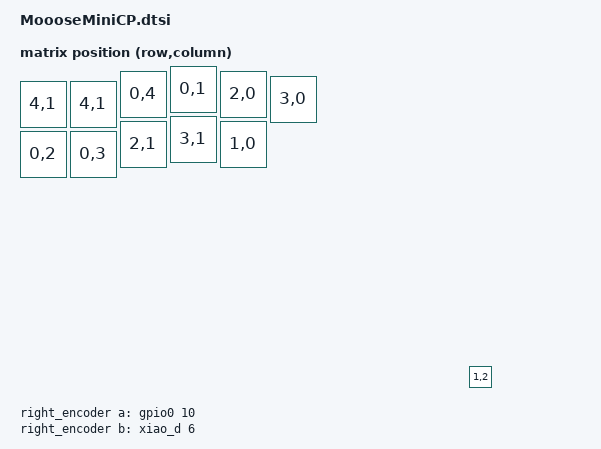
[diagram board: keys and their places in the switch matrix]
#include <dt-bindings/zmk/matrix_transform.h>
#include <physical_layouts.dtsi>

&gpio0 {
    status = "okay";
};

/ {
    chosen {
        zmk,physical-layout = &MoooseMiniCP_physical_layout;
    };

    MoooseMiniCP_physical_layout: MoooseMiniCP_physical_layout {
        compatible = "zmk,physical-layout";
        display-name = "Default";
        transform = <&default_transform>;
        kscan = <&kscan0>;

        keys  //                     w   h    x    y     rot    rx    ry
            = <&key_physical_attrs 100 100    0   30       0     0     0>
            , <&key_physical_attrs 100 100  100   30       0     0     0>
            , <&key_physical_attrs 100 100  200   10       0     0     0>
            , <&key_physical_attrs 100 100  300    0       0     0     0>
            , <&key_physical_attrs 100 100  400   10       0     0     0>
            , <&key_physical_attrs 100 100  500   20       0     0     0>
            , <&key_physical_attrs  50  50  900  600       0     0     0>
            , <&key_physical_attrs 100 100    0  130       0     0     0>
            , <&key_physical_attrs 100 100  100  130       0     0     0>
            , <&key_physical_attrs 100 100  200  110       0     0     0>
            , <&key_physical_attrs 100 100  300  100       0     0     0>
            , <&key_physical_attrs 100 100  400  110       0     0     0>
            ;
    };

    kscan0: kscan_0 {
        compatible = "zmk,kscan-gpio-charlieplex";
        interrupt-gpios = <&xiao_d 1 (GPIO_ACTIVE_HIGH | GPIO_PULL_DOWN)>;
        gpios
            = <&xiao_d 9 GPIO_ACTIVE_HIGH>
            , <&xiao_d 8 GPIO_ACTIVE_HIGH>
            , <&xiao_d 2 GPIO_ACTIVE_HIGH>
            , <&xiao_d 3 GPIO_ACTIVE_HIGH>
            , <&xiao_d 7 GPIO_ACTIVE_HIGH>
            ;
    };

    default_transform: keymap_transform_0 {
        compatible = "zmk,matrix-transform";
        rows = <4>;
        columns = <5>;
        map = <
            RC(4,1)          RC(4,1) RC(0,4) RC(0,1)
            RC(2,0)  RC(3,0) RC(1,2) RC(0,2) RC(0,3)
            RC(2,1)  RC(3,1) RC(1,0)
        >;
    };

    right_encoder: encoder_right {
        compatible = "alps,ec11";
        a-gpios = <&gpio0 10 (GPIO_ACTIVE_HIGH | GPIO_PULL_UP)>;
        b-gpios = <&xiao_d 6 (GPIO_ACTIVE_HIGH | GPIO_PULL_UP)>;
        steps = <20>;
        status = "disabled";
    };

    sensors: sensors {
        compatible = "zmk,keymap-sensors";
        sensors = <&right_encoder>;
        triggers-per-rotation = <12>;
    };
};

&xiao_i2c { status = "disabled"; };
&xiao_serial { status = "disabled"; };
